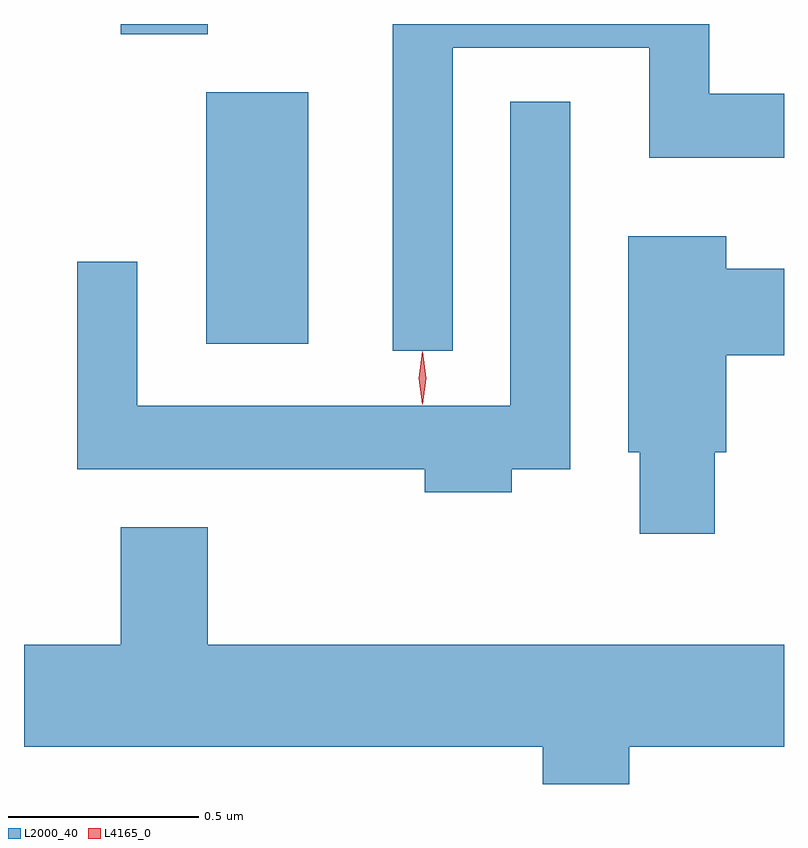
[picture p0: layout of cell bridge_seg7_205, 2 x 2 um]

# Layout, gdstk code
import gdstk
lib = gdstk.Library(unit=1e-6, precision=1e-09)
def R(c, l, rs):  # rectangles x0, y0, x1, y1
    for r in rs: c.add(gdstk.rectangle(r[:2], r[2:], *l))
def P(c, l, *ps):  # polygons
    for p in ps: c.add(gdstk.Polygon(p, *l))
L2000_40 = (2000, 40)
L4165_0 = (4165, 0)

bridge_seg7_205 = lib.new_cell('bridge_seg7_205')
R(bridge_seg7_205, L2000_40, [(1482.886,1713.156,1483.154,1713.819), (1482.661,1713.971,1482.889,1713.998)])
P(bridge_seg7_205, L2000_40, [(1483.534,1713.936),(1484.051,1713.936),(1484.051,1713.646),(1484.406,1713.646),(1484.406,1713.814),(1484.209,1713.814),(1484.209,1713.998),(1483.376,1713.998),(1483.376,1713.138),(1483.534,1713.138)],
  [(1483.689,1712.826),(1483.844,1712.826),(1483.844,1713.793),(1483.686,1713.793),(1483.686,1712.994),(1482.704,1712.994),(1482.704,1713.373),(1482.546,1713.373),(1482.546,1712.826),(1483.461,1712.826),(1483.461,1712.766),(1483.689,1712.766)],
  [(1484.224,1712.871),(1484.254,1712.871),(1484.254,1713.126),(1484.406,1713.126),(1484.406,1713.354),(1484.254,1713.354),(1484.254,1713.439),(1483.996,1713.439),(1483.996,1712.871),(1484.026,1712.871),(1484.026,1712.656),(1484.224,1712.656)],
  [(1482.889,1712.674),(1482.661,1712.674),(1482.661,1712.364),(1482.406,1712.364),(1482.406,1712.096),(1483.771,1712.096),(1483.771,1711.998),(1483.999,1711.998),(1483.999,1712.096),(1484.406,1712.096),(1484.406,1712.364),(1482.889,1712.364)])
P(bridge_seg7_205, L4165_0, [(1483.455,1712.999),(1483.454,1713),(1483.445,1713.066),(1483.454,1713.132),(1483.455,1713.133),(1483.455,1713.132),(1483.465,1713.066),(1483.455,1713)],
  [(1483.454,1712.997),(1483.445,1713.066),(1483.454,1713.136),(1483.455,1713.136),(1483.455,1713.136),(1483.465,1713.066),(1483.455,1712.997),(1483.455,1712.997)])

lib.write_gds('bridge_seg7_205.gds')
